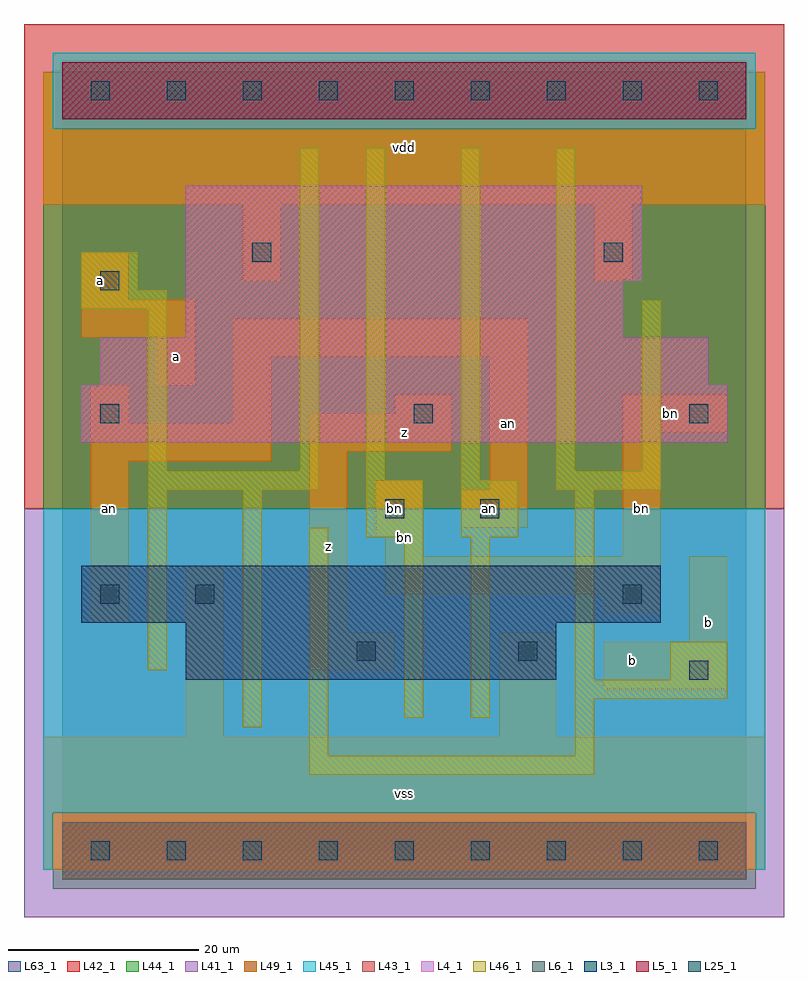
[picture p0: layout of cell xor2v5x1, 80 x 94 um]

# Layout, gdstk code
import gdstk
lib = gdstk.Library(unit=1e-6, precision=1e-09)
def R(c, l, rs):  # rectangles x0, y0, x1, y1
    for r in rs: c.add(gdstk.rectangle(r[:2], r[2:], *l))
def A(c, l, x, y, w, h, nx, ny, dx, dy):  # array of equal rectangles
    R(c, l, [(x+i*dx, y+j*dy, x+i*dx+w, y+j*dy+h) for i in range(nx) for j in range(ny)])
L3_1 = (3, 1)
L4_1 = (4, 1)
L5_1 = (5, 1)
L6_1 = (6, 1)
L25_1 = (25, 1)
L41_1 = (41, 1)
L42_1 = (42, 1)
L43_1 = (43, 1)
L44_1 = (44, 1)
L45_1 = (45, 1)
L46_1 = (46, 1)
L49_1 = (49, 1)
L63_1 = (63, 1)

xor2v5x1 = lib.new_cell('xor2v5x1')
R(xor2v5x1, L3_1, [(13,18,52,24), (2,24,63,30)])
R(xor2v5x1, L4_1, [(2,43,70,49), (4,49,68,54), (13,54,59,60), (13,60,61,70)])
R(xor2v5x1, L5_1, [(0,77,72,83)])
R(xor2v5x1, L6_1, [(0,-3,72,3), (0,-3,72,3)])
A(xor2v5x1, L25_1, 3, -1, 2, 2, 9, 2, 8, 80)
R(xor2v5x1, L25_1, [(66,18,68,20), (31,20,33,22), (48,20,50,22), (4,26,6,28), (14,26,16,28), (59,26,61,28), (34,35,36,37), (44,35,46,37), (4,45,6,47), (37,45,39,47), (66,45,68,47), (4,59,6,61), (20,62,22,64), (57,62,59,64)])
R(xor2v5x1, L41_1, [(-4,-7,76,36)])
R(xor2v5x1, L42_1, [(-4,36,76,87)])
R(xor2v5x1, L43_1, [(0,-3,72,3), (13,18,52,24), (2,24,63,30), (2,43,70,49), (4,49,68,54), (13,54,59,60), (13,60,61,70), (0,77,72,83)])
R(xor2v5x1, L44_1, [(-1,-4,73,4), (-2,36,74,76), (-2,76,-1,82), (73,76,74,82)])
R(xor2v5x1, L45_1, [(-2,-2,-1,4), (73,-2,74,4), (-2,4,74,36), (-1,76,73,84)])
R(xor2v5x1, L46_1, [(26,8,56,10), (26,10,28,34), (54,10,56,16), (19,13,21,38), (36,14,38,33), (43,14,45,33), (54,16,70,18), (54,18,56,38), (64,18,70,22), (9,19,11,38), (32,33,38,39), (42,33,48,39), (9,38,27,40), (52,38,63,40), (32,39,34,74), (42,39,44,74), (9,40,11,57), (25,40,27,74), (52,40,54,74), (61,40,63,58), (2,57,11,59), (2,59,8,63)])
R(xor2v5x1, L49_1, [(-2,-2,74,12), (13,12,17,30), (46,12,52,23), (57,17,70,22), (26,19,35,23), (66,22,70,31), (26,23,30,42), (3,24,7,41), (57,25,63,27), (34,27,63,31), (34,31,38,33), (59,31,63,44), (33,33,38,39), (42,34,49,38), (45,38,49,52), (3,41,22,45), (26,42,41,46), (59,44,70,48), (3,45,7,49), (18,45,22,52), (35,46,41,48), (10,49,14,54), (18,52,49,56), (2,54,14,58), (2,58,7,63), (19,60,23,68), (56,60,60,68), (-2,68,74,82)])
R(xor2v5x1, L63_1, [(0,0,72,80)])
xor2v5x1.add(gdstk.Label('bn', (35,36), layer=49, texttype=1))
xor2v5x1.add(gdstk.Label('an', (45,36), layer=49, texttype=1))
xor2v5x1.add(gdstk.Label('an', (5,36), layer=49, texttype=1))
xor2v5x1.add(gdstk.Label('a', (4,60), layer=49, texttype=1))
xor2v5x1.add(gdstk.Label('a', (12,52), layer=49, texttype=1))
xor2v5x1.add(gdstk.Label('vss', (36,6), layer=49, texttype=1))
xor2v5x1.add(gdstk.Label('bn', (36,33), layer=49, texttype=1))
xor2v5x1.add(gdstk.Label('z', (28,32), layer=49, texttype=1))
xor2v5x1.add(gdstk.Label('z', (36,44), layer=49, texttype=1))
xor2v5x1.add(gdstk.Label('vdd', (36,74), layer=49, texttype=1))
xor2v5x1.add(gdstk.Label('an', (47,45), layer=49, texttype=1))
xor2v5x1.add(gdstk.Label('b', (60,20), layer=49, texttype=1))
xor2v5x1.add(gdstk.Label('b', (68,24), layer=49, texttype=1))
xor2v5x1.add(gdstk.Label('bn', (64,46), layer=49, texttype=1))
xor2v5x1.add(gdstk.Label('bn', (61,36), layer=49, texttype=1))

lib.write_gds('xor2v5x1.gds')
